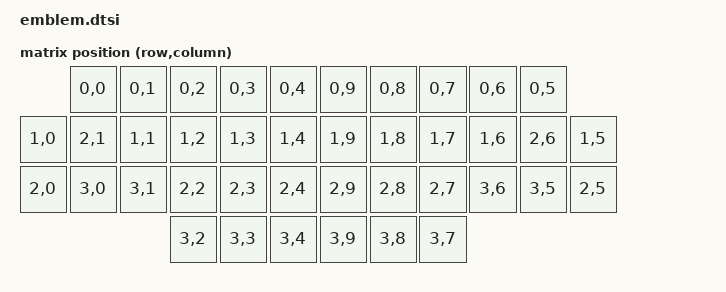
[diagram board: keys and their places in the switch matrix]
/*
 * Copyright (c) 2022 The ZMK Contributors
 *
 * SPDX-License-Identifier: MIT
 */

 #include <dt-bindings/zmk/matrix_transform.h>
 
 #include "emblem-layouts.dtsi"

 / {
     chosen {
         zmk,kscan = &kscan0;
     };

     emblem_layout {
        transform = <&default_transform>;
     };
 
     default_transform: keymap_transform_0 {
         compatible = "zmk,matrix-transform";
         columns = <10>;
         rows = <4>;
 //             | SW01  | SW05  | SW09  | SW13  | SW17  |  | SW17  | SW13  | SW09  | SW05  | SW01  |
 //      | SW02 | SW07  | SW06  | SW10  | SW14  | SW18  |  | SW18  | SW14  | SW10  | SW06  | SW07  | SW02  |
 //      | SW03 | SW04  | SW08  | SW11  | SW15  | SW19  |  | SW19  | SW15  | SW11  | SW08  | SW04  | SW03  |
 //                             | SW12  | SW16  | SW20  |  | SW20  | SW16  | SW12  | 
         map = <
                 RC(0,0) RC(0,1) RC(0,2) RC(0,3) RC(0,4)    RC(0,9) RC(0,8) RC(0,7) RC(0,6) RC(0,5)
         RC(1,0) RC(2,1) RC(1,1) RC(1,2) RC(1,3) RC(1,4)    RC(1,9) RC(1,8) RC(1,7) RC(1,6) RC(2,6) RC(1,5)
         RC(2,0) RC(3,0) RC(3,1) RC(2,2) RC(2,3) RC(2,4)    RC(2,9) RC(2,8) RC(2,7) RC(3,6) RC(3,5) RC(2,5)
                                 RC(3,2) RC(3,3) RC(3,4)    RC(3,9) RC(3,8) RC(3,7)         
         >;
     };
 
 
     kscan0: kscan_0 {
         compatible = "zmk,kscan-gpio-matrix";
         label = "KSCAN";
         diode-direction = "col2row"; 
     };
 };

&uicr {
    nfct-pins-as-gpios;
};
